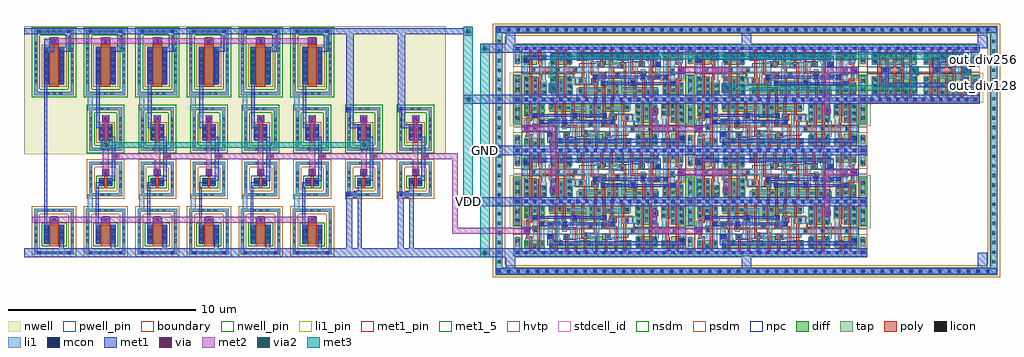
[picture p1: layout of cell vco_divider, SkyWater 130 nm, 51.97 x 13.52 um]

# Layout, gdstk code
from math import pi, radians
import gdstk
lib = gdstk.Library(unit=1e-6, precision=1e-09)
def R(c, l, rs):  # rectangles x0, y0, x1, y1
    for r in rs: c.add(gdstk.rectangle(r[:2], r[2:], *l))
def A(c, l, x, y, w, h, nx, ny, dx, dy):  # array of equal rectangles
    R(c, l, [(x+i*dx, y+j*dy, x+i*dx+w, y+j*dy+h) for i in range(nx) for j in range(ny)])
nwell_pin = (64, 16)
nwell = (64, 20)
diff = (65, 20)
tap = (65, 44)
poly = (66, 20)
licon = (66, 44)
li1_pin = (67, 16)
li1 = (67, 20)
mcon = (67, 44)
met1_5 = (68, 5)
met1_pin = (68, 16)
met1 = (68, 20)
via = (68, 44)
met2 = (69, 20)
via2 = (69, 44)
met3 = (70, 20)
hvtp = (78, 44)
stdcell_id = (81, 4)
nsdm = (93, 44)
psdm = (94, 20)
npc = (95, 20)
pwell_pin = (122, 16)
boundary = (235, 4)

sky130_fd_pr__nfet_01v8_ = lib.new_cell('sky130_fd_pr__nfet_01v8_w0p42_l0p15')
R(sky130_fd_pr__nfet_01v8_, diff, [(-0.365,-0.365,0.365,0.055)])
R(sky130_fd_pr__nfet_01v8_, tap, [(-0.875,-0.925,0.875,-0.755), (-0.875,-0.755,-0.705,0.755), (0.705,-0.755,0.875,0.755), (-0.875,0.755,0.875,0.925)])
R(sky130_fd_pr__nfet_01v8_, poly, [(-0.075,-0.495,0.075,0.165), (-0.165,0.165,0.165,0.495)])
A(sky130_fd_pr__nfet_01v8_, licon, -0.875, -0.425, 0.17, 0.17, 1, 3, 0, 0.34)
A(sky130_fd_pr__nfet_01v8_, licon, 0.705, -0.425, 0.17, 0.17, 1, 3, 0, 0.34)
R(sky130_fd_pr__nfet_01v8_, licon, [(-0.255,-0.925,-0.085,-0.755), (0.085,-0.925,0.255,-0.755), (-0.305,-0.24,-0.135,-0.07), (0.135,-0.24,0.305,-0.07), (-0.085,0.245,0.085,0.415), (-0.255,0.755,-0.085,0.925), (0.085,0.755,0.255,0.925)])
R(sky130_fd_pr__nfet_01v8_, li1, [(-0.875,-0.925,0.875,-0.755), (-0.875,-0.755,-0.705,0.755), (0.705,-0.755,0.875,0.755), (-0.305,-0.385,-0.135,0.075), (0.135,-0.385,0.305,0.075), (-0.165,0.245,0.165,0.415), (-0.875,0.755,0.875,0.925)])
R(sky130_fd_pr__nfet_01v8_, mcon, [(-0.305,-0.24,-0.135,-0.07), (0.135,-0.24,0.305,-0.07), (-0.085,0.245,0.085,0.415)])
R(sky130_fd_pr__nfet_01v8_, met1, [(-0.335,-0.365,-0.105,0.055), (0.105,-0.365,0.335,0.055), (-0.145,0.215,0.145,0.445)])
R(sky130_fd_pr__nfet_01v8_, nsdm, [(-0.49,-0.49,0.49,0.18)])
R(sky130_fd_pr__nfet_01v8_, psdm, [(-1,-1.05,1,-0.63), (-1,-0.63,-0.58,0.63), (0.58,-0.63,1,0.63), (-1,0.63,1,1.05)])
R(sky130_fd_pr__nfet_01v8_, npc, [(-0.185,0.145,0.185,0.515)])
R(sky130_fd_pr__nfet_01v8_, boundary, [(-0.79,-0.84,0.79,0.84)])
sky130_fd_pr__nfet_01v8_.add(gdstk.Label('B', (0,-0.84), layer=67, texttype=5))
sky130_fd_pr__nfet_01v8_.add(gdstk.Label('D', (-0.22,-0.155), layer=67, texttype=5))
sky130_fd_pr__nfet_01v8_.add(gdstk.Label('S', (0.22,-0.155), layer=67, texttype=5))
sky130_fd_pr__nfet_01v8_.add(gdstk.Label('G', (0,0.33), layer=67, texttype=5))

c_sky130_fd_pr__nfet_01v8_ = lib.new_cell('sky130_fd_pr__nfet_01v8_w1_l0p5')
R(c_sky130_fd_pr__nfet_01v8_, diff, [(-0.54,-0.655,0.54,0.345)])
R(c_sky130_fd_pr__nfet_01v8_, tap, [(-1.05,-1.215,1.05,-1.045), (-1.05,-1.045,-0.88,1.045), (0.88,-1.045,1.05,1.045), (-1.05,1.045,1.05,1.215)])
R(c_sky130_fd_pr__nfet_01v8_, poly, [(-0.25,-0.785,0.25,0.785)])
A(c_sky130_fd_pr__nfet_01v8_, licon, -0.425, -1.215, 0.17, 0.17, 3, 2, 0.34, 2.26)
A(c_sky130_fd_pr__nfet_01v8_, licon, -1.05, -0.595, 0.17, 0.17, 1, 4, 0, 0.34)
A(c_sky130_fd_pr__nfet_01v8_, licon, 0.88, -0.595, 0.17, 0.17, 1, 4, 0, 0.34)
A(c_sky130_fd_pr__nfet_01v8_, licon, -0.48, -0.58, 0.17, 0.17, 1, 3, 0, 0.34)
A(c_sky130_fd_pr__nfet_01v8_, licon, 0.31, -0.58, 0.17, 0.17, 1, 3, 0, 0.34)
R(c_sky130_fd_pr__nfet_01v8_, licon, [(-0.085,0.535,0.085,0.705)])
R(c_sky130_fd_pr__nfet_01v8_, li1, [(-1.05,-1.215,1.05,-1.045), (-1.05,-1.045,-0.88,1.045), (0.88,-1.045,1.05,1.045), (-0.48,-0.675,-0.31,0.365), (0.31,-0.675,0.48,0.365), (-0.25,0.535,0.25,0.705), (-1.05,1.045,1.05,1.215)])
R(c_sky130_fd_pr__nfet_01v8_, mcon, [(-0.48,-0.42,-0.31,-0.25), (0.31,-0.42,0.48,-0.25), (-0.48,-0.06,-0.31,0.11), (0.31,-0.06,0.48,0.11), (-0.085,0.535,0.085,0.705)])
R(c_sky130_fd_pr__nfet_01v8_, met1, [(-0.51,-0.655,-0.28,0.345), (0.28,-0.655,0.51,0.345), (-0.23,0.505,0.23,0.735)])
R(c_sky130_fd_pr__nfet_01v8_, nsdm, [(-0.665,-0.78,0.665,0.47)])
R(c_sky130_fd_pr__nfet_01v8_, psdm, [(-1.175,-1.34,1.175,-0.92), (-1.175,-0.92,-0.755,0.92), (0.755,-0.92,1.175,0.92), (-1.175,0.92,1.175,1.34)])
R(c_sky130_fd_pr__nfet_01v8_, npc, [(-0.185,0.435,0.185,0.805)])
R(c_sky130_fd_pr__nfet_01v8_, boundary, [(-0.965,-1.13,0.965,1.13)])
c_sky130_fd_pr__nfet_01v8_.add(gdstk.Label('B', (0,-1.13), layer=67, texttype=5))
c_sky130_fd_pr__nfet_01v8_.add(gdstk.Label('D', (-0.395,-0.155), layer=67, texttype=5))
c_sky130_fd_pr__nfet_01v8_.add(gdstk.Label('S', (0.395,-0.155), layer=67, texttype=5))
c_sky130_fd_pr__nfet_01v8_.add(gdstk.Label('G', (0,0.62), layer=67, texttype=5))

sky130_fd_pr__pfet_01v8_ = lib.new_cell('sky130_fd_pr__pfet_01v8_w0p84_l0p15')
R(sky130_fd_pr__pfet_01v8_, nwell, [(-1.055,-1.34,1.055,1.34)])
R(sky130_fd_pr__pfet_01v8_, diff, [(-0.365,-0.6,0.365,0.24)])
R(sky130_fd_pr__pfet_01v8_, tap, [(-0.875,-1.16,0.875,-0.99), (-0.875,-0.99,-0.705,0.99), (0.705,-0.99,0.875,0.99), (-0.875,0.99,0.875,1.16)])
R(sky130_fd_pr__pfet_01v8_, poly, [(-0.075,-0.73,0.075,0.395), (-0.165,0.395,0.165,0.725)])
A(sky130_fd_pr__pfet_01v8_, licon, -0.875, -0.595, 0.17, 0.17, 1, 4, 0, 0.34)
A(sky130_fd_pr__pfet_01v8_, licon, 0.705, -0.595, 0.17, 0.17, 1, 4, 0, 0.34)
R(sky130_fd_pr__pfet_01v8_, licon, [(-0.255,-1.16,-0.085,-0.99), (0.085,-1.16,0.255,-0.99), (-0.305,-0.435,-0.135,-0.265), (0.135,-0.435,0.305,-0.265), (-0.305,-0.095,-0.135,0.075), (0.135,-0.095,0.305,0.075), (-0.085,0.475,0.085,0.645), (-0.255,0.99,-0.085,1.16), (0.085,0.99,0.255,1.16)])
R(sky130_fd_pr__pfet_01v8_, li1, [(-0.875,-1.16,0.875,-0.99), (-0.875,-0.99,-0.705,0.99), (0.705,-0.99,0.875,0.99), (-0.305,-0.62,-0.135,0.26), (0.135,-0.62,0.305,0.26), (-0.165,0.475,0.165,0.645), (-0.875,0.99,0.875,1.16)])
R(sky130_fd_pr__pfet_01v8_, mcon, [(-0.305,-0.445,-0.135,-0.275), (0.135,-0.445,0.305,-0.275), (-0.305,-0.085,-0.135,0.085), (0.135,-0.085,0.305,0.085), (-0.085,0.475,0.085,0.645)])
R(sky130_fd_pr__pfet_01v8_, met1, [(-0.335,-0.6,-0.105,0.24), (0.105,-0.6,0.335,0.24), (-0.145,0.445,0.145,0.675)])
R(sky130_fd_pr__pfet_01v8_, nsdm, [(-1,-1.285,1,-0.865), (-1,-0.865,-0.58,0.865), (0.58,-0.865,1,0.865), (-1,0.865,1,1.285)])
R(sky130_fd_pr__pfet_01v8_, psdm, [(-0.49,-0.725,0.49,0.365)])
R(sky130_fd_pr__pfet_01v8_, npc, [(-0.185,0.375,0.185,0.745)])
R(sky130_fd_pr__pfet_01v8_, boundary, [(-0.79,-1.075,0.79,1.075)])
sky130_fd_pr__pfet_01v8_.add(gdstk.Label('B', (0,-1.075), layer=67, texttype=5))
sky130_fd_pr__pfet_01v8_.add(gdstk.Label('D', (-0.22,-0.18), layer=67, texttype=5))
sky130_fd_pr__pfet_01v8_.add(gdstk.Label('S', (0.22,-0.18), layer=67, texttype=5))
sky130_fd_pr__pfet_01v8_.add(gdstk.Label('G', (0,0.56), layer=67, texttype=5))

c_sky130_fd_pr__pfet_01v8_ = lib.new_cell('sky130_fd_pr__pfet_01v8_w2_l0p5')
R(c_sky130_fd_pr__pfet_01v8_, nwell, [(-1.23,-1.92,1.23,1.92)])
R(c_sky130_fd_pr__pfet_01v8_, diff, [(-0.54,-1.18,0.54,0.82)])
R(c_sky130_fd_pr__pfet_01v8_, tap, [(-1.05,-1.74,1.05,-1.57), (-1.05,-1.57,-0.88,1.57), (0.88,-1.57,1.05,1.57), (-1.05,1.57,1.05,1.74)])
R(c_sky130_fd_pr__pfet_01v8_, poly, [(-0.25,-1.31,0.25,1.305)])
A(c_sky130_fd_pr__pfet_01v8_, licon, -0.425, -1.74, 0.17, 0.17, 3, 2, 0.34, 3.31)
A(c_sky130_fd_pr__pfet_01v8_, licon, -0.48, -1.115, 0.17, 0.17, 1, 6, 0, 0.34)
A(c_sky130_fd_pr__pfet_01v8_, licon, 0.31, -1.115, 0.17, 0.17, 1, 6, 0, 0.34)
A(c_sky130_fd_pr__pfet_01v8_, licon, -1.05, -1.105, 0.17, 0.17, 1, 7, 0, 0.34)
A(c_sky130_fd_pr__pfet_01v8_, licon, 0.88, -1.105, 0.17, 0.17, 1, 7, 0, 0.34)
R(c_sky130_fd_pr__pfet_01v8_, licon, [(-0.085,1.055,0.085,1.225)])
R(c_sky130_fd_pr__pfet_01v8_, li1, [(-1.05,-1.74,1.05,-1.57), (-1.05,-1.57,-0.88,1.57), (0.88,-1.57,1.05,1.57), (-0.48,-1.2,-0.31,0.84), (0.31,-1.2,0.48,0.84), (-0.25,1.055,0.25,1.225), (-1.05,1.57,1.05,1.74)])
A(c_sky130_fd_pr__pfet_01v8_, mcon, -0.48, -0.985, 0.17, 0.17, 1, 5, 0, 0.36)
A(c_sky130_fd_pr__pfet_01v8_, mcon, 0.31, -0.985, 0.17, 0.17, 1, 5, 0, 0.36)
R(c_sky130_fd_pr__pfet_01v8_, mcon, [(-0.085,1.055,0.085,1.225)])
R(c_sky130_fd_pr__pfet_01v8_, met1, [(-0.51,-1.18,-0.28,0.82), (0.28,-1.18,0.51,0.82), (-0.23,1.025,0.23,1.255)])
R(c_sky130_fd_pr__pfet_01v8_, nsdm, [(-1.175,-1.865,1.175,-1.445), (-1.175,-1.445,-0.755,1.445), (0.755,-1.445,1.175,1.445), (-1.175,1.445,1.175,1.865)])
R(c_sky130_fd_pr__pfet_01v8_, psdm, [(-0.665,-1.305,0.665,0.945)])
R(c_sky130_fd_pr__pfet_01v8_, npc, [(-0.185,0.955,0.185,1.325)])
R(c_sky130_fd_pr__pfet_01v8_, boundary, [(-0.965,-1.655,0.965,1.655)])
c_sky130_fd_pr__pfet_01v8_.add(gdstk.Label('B', (0,-1.655), layer=67, texttype=5))
c_sky130_fd_pr__pfet_01v8_.add(gdstk.Label('D', (-0.395,-0.18), layer=67, texttype=5))
c_sky130_fd_pr__pfet_01v8_.add(gdstk.Label('S', (0.395,-0.18), layer=67, texttype=5))
c_sky130_fd_pr__pfet_01v8_.add(gdstk.Label('G', (0,1.14), layer=67, texttype=5))

vco_core = lib.new_cell('vco_core')
R(vco_core, nwell, [(-1.6,-4.89,20.85,1.92)])
A(vco_core, li1, 1.79, -7.925, 0.26, 0.91, 5, 1, 2.75, 0)
A(vco_core, li1, 1.79, -2.55, 0.26, 0.95, 5, 1, 2.75, 0)
R(vco_core, li1, [(-0.885,-10.22,-0.715,-10.05), (0.715,-10.22,0.885,-10.05), (1.865,-10.22,2.035,-10.05), (3.465,-10.22,3.635,-10.05), (4.615,-10.22,4.785,-10.05), (6.215,-10.22,6.385,-10.05), (7.365,-10.22,7.535,-10.05), (8.965,-10.22,9.135,-10.05), (10.115,-10.22,10.285,-10.05), (11.715,-10.22,11.885,-10.05), (12.865,-10.22,13.035,-10.05), (14.465,-10.22,14.635,-10.05), (15.625,-7.14,15.795,-6.97), (18.375,-7.14,18.545,-6.97), (15.625,-2.56,15.795,-2.39), (18.375,-2.56,18.545,-2.39), (-0.885,1.57,-0.715,1.74), (0.715,1.57,0.885,1.74), (1.865,1.57,2.035,1.74), (3.465,1.57,3.635,1.74), (4.615,1.57,4.785,1.74), (6.215,1.57,6.385,1.74), (7.365,1.57,7.535,1.74), (8.965,1.57,9.135,1.74), (10.115,1.57,10.285,1.74), (11.715,1.57,11.885,1.74), (12.865,1.57,13.035,1.74), (14.465,1.57,14.635,1.74)])
R(vco_core, mcon, [(-0.885,-10.22,-0.715,-10.05), (0.715,-10.22,0.885,-10.05), (1.865,-10.22,2.035,-10.05), (3.465,-10.22,3.635,-10.05), (4.615,-10.22,4.785,-10.05), (6.215,-10.22,6.385,-10.05), (7.365,-10.22,7.535,-10.05), (8.965,-10.22,9.135,-10.05), (10.115,-10.22,10.285,-10.05), (11.715,-10.22,11.885,-10.05), (12.865,-10.22,13.035,-10.05), (14.465,-10.22,14.635,-10.05), (15.625,-7.14,15.795,-6.97), (18.375,-7.14,18.545,-6.97), (15.625,-2.56,15.795,-2.39), (18.375,-2.56,18.545,-2.39), (-0.885,1.57,-0.715,1.74), (0.715,1.57,0.885,1.74), (1.865,1.57,2.035,1.74), (3.465,1.57,3.635,1.74), (4.615,1.57,4.785,1.74), (6.215,1.57,6.385,1.74), (7.365,1.57,7.535,1.74), (8.965,1.57,9.135,1.74), (10.115,1.57,10.285,1.74), (11.715,1.57,11.885,1.74), (12.865,1.57,13.035,1.74), (14.465,1.57,14.635,1.74)])
A(vco_core, met1, 0.28, -9.895, 0.23, 0.39, 6, 1, 2.75, 0)
A(vco_core, met1, 2.22, -8.905, 0.25, 0.245, 5, 1, 2.75, 0)
A(vco_core, met1, 2.22, -8.66, 0.15, 2.08, 5, 1, 2.75, 0)
A(vco_core, met1, -0.16, -8.545, 0.32, 0.32, 6, 1, 2.75, 0)
A(vco_core, met1, 2.22, -6.58, 0.425, 0.2, 5, 1, 2.75, 0)
A(vco_core, met1, 2.855, -6.315, 0.405, 0.155, 7, 1, 2.75, 0)
A(vco_core, met1, 3.06, -6.16, 0.2, 1, 7, 1, 2.75, 0)
A(vco_core, met1, 2.59, -5.995, 0.32, 0.32, 7, 2, 2.75, 2.845)
A(vco_core, met1, 3.06, -5.16, 0.4, 0.32, 7, 1, 2.75, 0)
A(vco_core, met1, 3.06, -4.84, 0.2, 0.69, 7, 1, 2.75, 0)
A(vco_core, met1, 2.855, -4.15, 0.405, 0.2, 7, 1, 2.75, 0)
A(vco_core, met1, 2.24, -3.51, 0.405, 0.2, 5, 1, 2.75, 0)
A(vco_core, met1, 2.24, -3.31, 0.2, 2.31, 5, 1, 2.75, 0)
A(vco_core, met1, 0.28, 0.56, 0.57, 0.26, 6, 1, 2.75, 0)
A(vco_core, met1, 0.62, 0.82, 0.23, 0.675, 6, 1, 2.75, 0)
A(vco_core, met1, 2.59, 0.98, 0.32, 0.32, 5, 1, 2.75, 0)
A(vco_core, met1, -0.96, 1.495, 0.32, 0.01, 6, 1, 2.75, 0)
A(vco_core, met1, 0.62, 1.495, 0.34, 0.01, 6, 1, 2.75, 0)
R(vco_core, met1, [(-1.6,-10.375,20.85,-9.895), (15.55,-9.895,15.87,-7.215), (16.165,-9.895,16.395,-7.215), (18.3,-9.895,18.62,-7.215), (18.915,-9.895,19.145,-7.215), (-0.51,-8.905,-0.28,-8.66), (-0.51,-8.66,-0.37,-1), (15.55,-7.215,16.395,-6.895), (18.3,-7.215,19.145,-6.895), (16.165,-6.895,16.395,-6.515), (18.915,-6.895,19.145,-6.515), (15.75,-3.51,16.395,-3.31), (18.5,-3.51,19.145,-3.31), (15.75,-3.31,15.95,-2.65), (18.5,-3.31,18.7,-2.65), (15.55,-2.65,15.95,1.505), (18.3,-2.65,18.7,1.505), (-0.51,0.56,0,0.98), (-0.51,0.98,0.16,1.255), (-0.16,1.255,0.16,1.3), (-1.6,1.505,20.85,1.805), (-0.96,1.805,-0.64,1.815), (0.64,1.805,0.96,1.815), (1.79,1.805,2.11,1.815), (3.39,1.805,3.71,1.815), (4.54,1.805,4.86,1.815), (6.14,1.805,6.46,1.815), (7.29,1.805,7.61,1.815), (8.89,1.805,9.21,1.815), (10.04,1.805,10.36,1.815), (11.64,1.805,11.96,1.815), (12.79,1.805,13.11,1.815), (14.39,1.805,14.71,1.815)])
A(vco_core, via, -0.075, -8.46, 0.15, 0.15, 6, 2, 2.75, 9.525)
A(vco_core, via, 2.675, -5.91, 0.15, 0.15, 7, 2, 2.75, 2.845)
A(vco_core, via, 3.225, -5.075, 0.15, 0.15, 7, 1, 2.75, 0)
A(vco_core, met2, -0.16, -8.545, 0.32, 0.01, 6, 2, 2.75, 0.31)
A(vco_core, met2, 2.59, -5.995, 0.32, 0.32, 7, 2, 2.75, 2.845)
A(vco_core, met2, 5.35, -5.675, 0.3, 0.525, 6, 1, 2.75, 0)
A(vco_core, met2, 3.14, -5.16, 0.32, 0.01, 6, 2, 2.75, 0.31)
A(vco_core, met2, 3.14, -5.15, 2.51, 0.3, 6, 1, 2.75, 0)
A(vco_core, met2, 5.35, -4.85, 0.3, 1.7, 4, 1, 2.75, 0)
A(vco_core, met2, -0.16, 0.98, 0.32, 0.01, 6, 2, 2.75, 0.31)
R(vco_core, met2, [(-1.2,-8.535,13.91,-8.235), (2.6,-5.675,2.9,-4.59), (19.64,-5.16,19.96,-4.84), (16.35,-4.85,16.65,-4.59), (19.1,-4.85,19.4,-3.15), (2.56,-4.59,2.94,-4.21), (16.31,-4.59,16.69,-4.21), (2.6,-4.21,2.9,-3.15), (16.35,-4.21,16.65,-3.15), (-0.16,0.99,13.91,1.29)])
R(vco_core, via2, [(2.65,-4.5,2.85,-4.3), (16.4,-4.5,16.6,-4.3)])
R(vco_core, met3, [(2.5,-4.65,3,-4.55), (16.25,-4.65,16.75,-4.55), (2.5,-4.55,16.75,-4.25), (2.5,-4.25,3,-4.15), (16.25,-4.25,16.75,-4.15)])
vco_core.add(gdstk.Reference(sky130_fd_pr__nfet_01v8_, (2.75,-6.215)))
vco_core.add(gdstk.Reference(c_sky130_fd_pr__nfet_01v8_, (2.75,-9.005)))
vco_core.add(gdstk.Reference(c_sky130_fd_pr__nfet_01v8_, (0,-9.005)))
vco_core.add(gdstk.Reference(sky130_fd_pr__nfet_01v8_, (5.5,-6.215)))
vco_core.add(gdstk.Reference(c_sky130_fd_pr__nfet_01v8_, (5.5,-9.005)))
vco_core.add(gdstk.Reference(sky130_fd_pr__nfet_01v8_, (8.25,-6.215)))
vco_core.add(gdstk.Reference(c_sky130_fd_pr__nfet_01v8_, (8.25,-9.005)))
vco_core.add(gdstk.Reference(sky130_fd_pr__nfet_01v8_, (11,-6.215)))
vco_core.add(gdstk.Reference(sky130_fd_pr__nfet_01v8_, (13.75,-6.215)))
vco_core.add(gdstk.Reference(c_sky130_fd_pr__nfet_01v8_, (11,-9.005)))
vco_core.add(gdstk.Reference(c_sky130_fd_pr__nfet_01v8_, (13.75,-9.005)))
vco_core.add(gdstk.Reference(sky130_fd_pr__nfet_01v8_, (16.5,-6.215)))
vco_core.add(gdstk.Reference(sky130_fd_pr__nfet_01v8_, (19.25,-6.215)))
vco_core.add(gdstk.Reference(sky130_fd_pr__pfet_01v8_, (2.75,-3.55)))
vco_core.add(gdstk.Reference(sky130_fd_pr__pfet_01v8_, (5.5,-3.55)))
vco_core.add(gdstk.Reference(sky130_fd_pr__pfet_01v8_, (8.25,-3.55)))
vco_core.add(gdstk.Reference(sky130_fd_pr__pfet_01v8_, (13.75,-3.55)))
vco_core.add(gdstk.Reference(sky130_fd_pr__pfet_01v8_, (11,-3.55)))
vco_core.add(gdstk.Reference(sky130_fd_pr__pfet_01v8_, (16.5,-3.55)))
vco_core.add(gdstk.Reference(sky130_fd_pr__pfet_01v8_, (19.25,-3.55)))
vco_core.add(gdstk.Reference(c_sky130_fd_pr__pfet_01v8_, (0,0)))
vco_core.add(gdstk.Reference(c_sky130_fd_pr__pfet_01v8_, (2.75,0)))
vco_core.add(gdstk.Reference(c_sky130_fd_pr__pfet_01v8_, (5.5,0)))
vco_core.add(gdstk.Reference(c_sky130_fd_pr__pfet_01v8_, (8.25,0)))
vco_core.add(gdstk.Reference(c_sky130_fd_pr__pfet_01v8_, (11,0)))
vco_core.add(gdstk.Reference(c_sky130_fd_pr__pfet_01v8_, (13.75,0)))
vco_core.add(gdstk.Label('VDD', (20.35,1.655), layer=68, texttype=5))
vco_core.add(gdstk.Label('GND', (20.35,-10.135), layer=68, texttype=5))
vco_core.add(gdstk.Label('Vctrl', (-1,-8.385), layer=69, texttype=5))
vco_core.add(gdstk.Label('Vout', (19.8,-5), layer=69, texttype=5))

sky130_fd_sc_hd__tapvpwr = lib.new_cell('sky130_fd_sc_hd__tapvpwrvgnd_1')
R(sky130_fd_sc_hd__tapvpwr, nwell, [(-0.19,1.305,0.65,2.91)])
R(sky130_fd_sc_hd__tapvpwr, tap, [(0.145,0.32,0.315,0.845), (0.145,1.525,0.315,2.4)])
R(sky130_fd_sc_hd__tapvpwr, licon, [(0.145,0.555,0.315,0.725), (0.145,1.645,0.315,1.815), (0.145,2.11,0.315,2.28)])
R(sky130_fd_sc_hd__tapvpwr, li1, [(0,-0.085,0.46,0.085), (0.085,0,0.375,0.81), (0.085,1.47,0.375,2.72), (0,2.635,0.46,2.805)])
R(sky130_fd_sc_hd__tapvpwr, mcon, [(0.145,-0.085,0.315,0.085), (0.145,2.635,0.315,2.805)])
R(sky130_fd_sc_hd__tapvpwr, met1_pin, [(0.105,-0.09,0.36,0.1), (0.11,2.62,0.375,2.765)])
R(sky130_fd_sc_hd__tapvpwr, met1, [(0,-0.24,0.46,0.24), (0,2.48,0.46,2.96)])
R(sky130_fd_sc_hd__tapvpwr, hvtp, [(0,1.25,0.46,2.72)])
R(sky130_fd_sc_hd__tapvpwr, stdcell_id, [(0,0,0.46,2.72)])
R(sky130_fd_sc_hd__tapvpwr, nsdm, [(0,-0.19,0.46,0.19), (0,1.395,0.46,2.53)])
R(sky130_fd_sc_hd__tapvpwr, psdm, [(0,0.19,0.46,0.975), (0,2.53,0.46,2.91)])
sky130_fd_sc_hd__tapvpwr.add(gdstk.Label('VPWR', (0.23,2.72), layer=68, texttype=5))
sky130_fd_sc_hd__tapvpwr.add(gdstk.Label('VGND', (0.23,0), layer=68, texttype=5))
sky130_fd_sc_hd__tapvpwr.add(gdstk.Label('tapvpwrvgnd_1', (0,0), layer=83, texttype=44))

sky130_fd_sc_hd__dfxbp_1 = lib.new_cell('sky130_fd_sc_hd__dfxbp_1')
R(sky130_fd_sc_hd__dfxbp_1, nwell_pin, [(0.145,2.635,0.315,2.805)])
R(sky130_fd_sc_hd__dfxbp_1, nwell, [(-0.19,1.305,8.93,2.91)])
R(sky130_fd_sc_hd__dfxbp_1, diff, [(0.135,0.235,1.225,0.655), (1.495,0.235,5.82,0.595), (6.1,0.235,7.19,0.885), (7.46,0.235,8.605,0.655), (1.495,0.595,2.155,0.655), (3.055,0.595,4.3,0.655), (5.16,0.595,5.82,0.655), (3.65,0.655,4.3,0.875), (7.945,0.655,8.605,0.885), (6.08,1.485,7.18,2.485), (7.935,1.485,8.605,1.845), (3.395,1.735,4.23,2.065), (0.135,1.815,1.225,2.455), (7.45,1.845,8.605,2.485), (1.495,2.065,5.71,2.485)])
R(sky130_fd_sc_hd__dfxbp_1, poly, [(0.395,0.105,0.545,0.73), (0.815,0.105,0.965,1.1), (1.755,0.105,1.905,1.335), (2.315,0.105,2.465,0.735), (2.81,0.105,2.96,1.215), (3.305,0.105,3.455,0.795), (3.9,0.105,4.05,0.95), (4.405,0.105,4.555,0.705), (4.935,0.105,5.085,1.245), (5.41,0.105,5.56,1.575), (6.36,0.105,6.51,0.995), (6.78,0.105,6.93,0.995), (7.72,0.105,7.87,0.73), (8.195,0.105,8.345,0.995), (4.405,0.705,4.725,1.035), (0.23,0.73,0.545,0.88), (7.665,0.73,7.87,0.85), (2.215,0.735,2.545,1.005), (3.17,0.795,3.54,1.065), (7.665,0.85,7.815,0.995), (0.23,0.88,0.38,0.995), (3.83,0.95,4.05,1.1), (0.11,0.995,0.38,1.325), (5.8,0.995,6.51,1.325), (6.72,0.995,7.815,1.325), (8.025,0.995,8.345,1.325), (3.17,1.065,3.32,2.615), (0.59,1.1,0.965,1.37), (3.83,1.1,3.98,1.275), (2.115,1.215,2.96,1.365), (4.24,1.245,5.085,1.395), (3.53,1.275,3.98,1.545), (0.23,1.325,0.38,1.59), (6.35,1.325,6.5,2.615), (6.77,1.325,6.92,2.615), (7.665,1.325,7.815,1.515), (8.195,1.325,8.345,2.615), (1.43,1.335,1.905,1.665), (2.115,1.365,2.445,1.485), (0.815,1.37,0.965,2.585), (4.24,1.395,4.51,1.575), (2.18,1.485,2.33,2.615), (7.665,1.515,7.86,1.665), (3.83,1.545,3.98,2.615), (2.655,1.575,2.96,1.905), (4.305,1.575,4.455,2.615), (5.295,1.575,5.7,1.905), (0.23,1.59,0.545,1.74), (4.72,1.605,5.05,1.875), (1.755,1.665,1.905,2.615), (7.71,1.665,7.86,2.615), (0.395,1.74,0.545,2.585), (4.725,1.875,4.875,2.615), (2.655,1.905,2.805,2.615), (5.295,1.905,5.445,2.615)])
A(sky130_fd_sc_hd__dfxbp_1, licon, 6.12, 1.545, 0.17, 0.17, 1, 3, 0, 0.355)
A(sky130_fd_sc_hd__dfxbp_1, licon, 6.97, 1.545, 0.17, 0.17, 1, 3, 0, 0.34)
A(sky130_fd_sc_hd__dfxbp_1, licon, 8.395, 1.545, 0.17, 0.17, 1, 3, 0, 0.355)
A(sky130_fd_sc_hd__dfxbp_1, licon, 7.975, 1.575, 0.17, 0.17, 1, 3, 0, 0.34)
R(sky130_fd_sc_hd__dfxbp_1, licon, [(0.595,0.295,0.765,0.465), (1.535,0.295,1.705,0.465), (7.975,0.295,8.145,0.465), (6.14,0.3,6.31,0.47), (6.98,0.31,7.15,0.48), (3.51,0.335,3.68,0.505), (1.96,0.365,2.13,0.535), (2.515,0.365,2.685,0.535), (4.105,0.365,4.275,0.535), (4.62,0.365,4.79,0.535), (5.61,0.365,5.78,0.535), (0.175,0.425,0.345,0.595), (1.015,0.425,1.185,0.595), (7.5,0.425,7.67,0.595), (6.56,0.445,6.73,0.615), (8.395,0.485,8.565,0.655), (6.14,0.64,6.31,0.81), (6.98,0.65,7.15,0.82), (2.295,0.785,2.465,0.955), (4.505,0.785,4.675,0.955), (3.29,0.845,3.46,1.015), (0.16,1.075,0.33,1.245), (5.85,1.075,6.02,1.245), (6.77,1.075,6.94,1.245), (8.075,1.075,8.245,1.245), (0.67,1.15,0.84,1.32), (2.195,1.265,2.365,1.435), (3.61,1.325,3.78,1.495), (4.29,1.325,4.46,1.495), (1.48,1.415,1.65,1.585), (2.74,1.655,2.91,1.825), (4.8,1.655,4.97,1.825), (5.48,1.655,5.65,1.825), (6.55,1.705,6.72,1.875), (0.175,1.875,0.345,2.045), (1.015,1.875,1.185,2.045), (3.61,1.915,3.78,2.085), (7.49,1.915,7.66,2.085), (6.55,2.105,6.72,2.275), (0.595,2.135,0.765,2.305), (4.505,2.165,4.675,2.335), (2.415,2.19,2.585,2.36), (0.175,2.215,0.345,2.385), (1.015,2.215,1.185,2.385), (1.955,2.215,2.125,2.385), (4.03,2.215,4.2,2.385), (5.5,2.215,5.67,2.385), (1.535,2.255,1.705,2.425), (3.61,2.255,3.78,2.425), (7.49,2.255,7.66,2.425)])
R(sky130_fd_sc_hd__dfxbp_1, li1_pin, [(6.95,0.425,7.12,0.595), (0.145,1.105,0.315,1.275), (1.445,1.105,1.615,1.275), (8.425,1.52,8.595,1.69)])
R(sky130_fd_sc_hd__dfxbp_1, li1, [(0,-0.085,8.74,0.085), (0.515,0.085,0.845,0.465), (1.455,0.085,1.705,0.545), (3.4,0.085,3.77,0.585), (5.585,0.085,5.795,0.615), (6.56,0.085,6.73,0.695), (7.905,0.085,8.225,0.545), (8.395,0.255,8.65,0.91), (6.06,0.3,6.39,0.825), (6.9,0.305,7.23,0.74), (0.175,0.345,0.345,0.635), (1.015,0.345,1.2,2.465), (7.42,0.345,7.67,0.615), (1.875,0.365,2.21,0.535), (2.405,0.365,3.08,0.535), (3.95,0.365,4.355,0.535), (4.525,0.365,5.31,0.535), (1.875,0.535,2.045,0.675), (2.91,0.535,3.08,1.315), (3.95,0.535,4.12,0.765), (5.14,0.535,5.31,0.995), (7.47,0.615,7.67,0.995), (0.175,0.635,0.84,0.805), (1.82,0.675,2.045,0.805), (4.505,0.705,4.97,1.035), (1.37,0.715,1.65,1.665), (2.215,0.735,2.74,0.955), (6.9,0.74,7.3,0.825), (3.29,0.765,4.12,1.065), (0.61,0.805,0.84,1.795), (1.82,0.805,1.99,1.91), (6.19,0.825,6.39,0.995), (7.055,0.825,7.3,0.865), (7.11,0.865,7.3,1.445), (8.415,0.91,8.65,1.48), (2.57,0.955,2.74,1.655), (0.09,0.975,0.44,1.625), (5.14,0.995,6.02,1.325), (6.19,0.995,6.94,1.325), (7.47,0.995,8.245,1.325), (4.65,1.035,4.97,1.995), (3.29,1.065,3.49,1.095), (3.95,1.065,4.12,2.135), (2.16,1.125,2.4,1.72), (3.61,1.245,3.78,1.315), (4.29,1.245,4.48,1.965), (2.91,1.315,3.78,1.485), (5.14,1.325,5.31,2.165), (6.19,1.325,6.38,1.53), (7.47,1.325,7.74,1.715), (7.065,1.445,7.3,1.495), (8.315,1.48,8.65,2.465), (3.27,1.485,3.78,1.575), (6.89,1.495,7.3,1.575), (7.93,1.495,8.145,2.635), (5.48,1.53,6.38,1.905), (3.27,1.575,3.44,2.19), (6.89,1.575,7.22,2.42), (6.55,1.625,6.72,2.635), (2.57,1.655,3.1,2.02), (7.41,1.715,7.74,2.445), (0.175,1.795,0.84,1.965), (3.61,1.835,3.78,2.635), (6.04,1.905,6.38,2.465), (1.82,1.91,2.125,2.04), (0.175,1.965,0.345,2.465), (1.875,2.04,2.125,2.465), (0.515,2.135,0.845,2.635), (3.95,2.135,4.2,2.465), (5.49,2.135,5.805,2.635), (4.425,2.165,5.31,2.335), (1.44,2.175,1.705,2.635), (2.335,2.19,3.44,2.36), (0,2.635,8.74,2.805)])
A(sky130_fd_sc_hd__dfxbp_1, mcon, 0.145, -0.085, 0.17, 0.17, 19, 2, 0.46, 2.72)
R(sky130_fd_sc_hd__dfxbp_1, mcon, [(1.025,1.445,1.195,1.615), (2.215,1.445,2.385,1.615), (4.735,1.445,4.905,1.615), (0.63,1.785,0.8,1.955), (2.73,1.785,2.9,1.955), (4.3,1.785,4.47,1.955)])
R(sky130_fd_sc_hd__dfxbp_1, met1_pin, [(0.145,-0.085,0.315,0.085), (0.145,2.635,0.315,2.805)])
R(sky130_fd_sc_hd__dfxbp_1, met1, [(0,-0.24,8.74,0.24), (0.965,1.415,1.255,1.46), (2.155,1.415,2.445,1.46), (4.675,1.415,4.965,1.46), (0.965,1.46,4.965,1.6), (0.965,1.6,1.255,1.645), (2.155,1.6,2.445,1.645), (4.675,1.6,4.965,1.645), (0.57,1.755,0.86,1.8), (2.67,1.755,2.96,1.8), (4.24,1.755,4.53,1.8), (0.57,1.8,4.53,1.94), (0.57,1.94,0.86,1.985), (2.67,1.94,2.96,1.985), (4.24,1.94,4.53,1.985), (0,2.48,8.74,2.96)])
R(sky130_fd_sc_hd__dfxbp_1, hvtp, [(0,1.25,8.74,2.72)])
R(sky130_fd_sc_hd__dfxbp_1, stdcell_id, [(0,0,8.74,2.72)])
R(sky130_fd_sc_hd__dfxbp_1, nsdm, [(0,-0.19,8.74,1.015)])
R(sky130_fd_sc_hd__dfxbp_1, psdm, [(5.93,1.355,8.74,1.935), (3.24,1.605,4.665,1.935), (0,1.685,1.35,1.935), (0,1.935,8.74,2.91)])
R(sky130_fd_sc_hd__dfxbp_1, npc, [(2.195,0.685,2.905,0.745), (4.32,0.685,4.775,0.795), (2.195,0.745,3.59,0.895), (4.32,0.795,5.675,0.975), (2.195,0.895,3.67,0.975), (0,0.975,8.74,1.345), (0.565,1.345,6.02,1.42), (1.38,1.42,6.02,1.585), (1.38,1.585,5.91,1.595), (1.38,1.595,3.085,1.685), (4.335,1.595,5.91,1.71), (2.095,1.685,3.085,1.925), (4.675,1.71,5.91,1.925)])
R(sky130_fd_sc_hd__dfxbp_1, pwell_pin, [(0.145,-0.085,0.315,0.085)])
R(sky130_fd_sc_hd__dfxbp_1, boundary, [(0,0,8.74,2.72)])
sky130_fd_sc_hd__dfxbp_1.add(gdstk.Label('VNB', (0.23,0), layer=64, texttype=59))
sky130_fd_sc_hd__dfxbp_1.add(gdstk.Label('VPB', (0.23,2.72), layer=64, texttype=5))
sky130_fd_sc_hd__dfxbp_1.add(gdstk.Label('VGND', (0.23,0), layer=68, texttype=5))
sky130_fd_sc_hd__dfxbp_1.add(gdstk.Label('VPWR', (0.23,2.72), layer=68, texttype=5))
sky130_fd_sc_hd__dfxbp_1.add(gdstk.Label('VNB', (0.23,0), layer=64, texttype=59))
sky130_fd_sc_hd__dfxbp_1.add(gdstk.Label('VPB', (0.23,2.72), layer=64, texttype=5))
sky130_fd_sc_hd__dfxbp_1.add(gdstk.Label('Q_N', (8.51,1.605), layer=67, texttype=5))
sky130_fd_sc_hd__dfxbp_1.add(gdstk.Label('Q', (7.035,0.51), layer=67, texttype=5))
sky130_fd_sc_hd__dfxbp_1.add(gdstk.Label('D', (1.53,1.19), layer=67, texttype=5))
sky130_fd_sc_hd__dfxbp_1.add(gdstk.Label('CLK', (0.23,1.19), layer=67, texttype=5))

sky130_fd_sc_hd__buf_4 = lib.new_cell('sky130_fd_sc_hd__buf_4')
R(sky130_fd_sc_hd__buf_4, nwell_pin, [(0.15,2.635,0.32,2.805)])
R(sky130_fd_sc_hd__buf_4, nwell, [(-0.19,1.305,2.95,2.91)])
R(sky130_fd_sc_hd__buf_4, diff, [(0.135,0.235,2.485,0.885), (0.135,1.485,2.485,2.485)])
A(sky130_fd_sc_hd__buf_4, poly, 0.815, 0.105, 0.15, 0.92, 4, 1, 0.42, 0)
A(sky130_fd_sc_hd__buf_4, poly, 0.815, 1.295, 0.15, 1.32, 4, 1, 0.42, 0)
R(sky130_fd_sc_hd__buf_4, poly, [(0.395,0.105,0.545,1.015), (0.14,1.015,0.545,1.305), (0.81,1.025,2.225,1.295), (0.395,1.305,0.545,2.615)])
A(sky130_fd_sc_hd__buf_4, licon, 0.175, 0.475, 0.17, 0.17, 3, 1, 0.84, 0)
A(sky130_fd_sc_hd__buf_4, licon, 0.175, 1.545, 0.17, 0.17, 1, 3, 0, 0.34)
A(sky130_fd_sc_hd__buf_4, licon, 0.595, 1.915, 0.17, 0.17, 3, 2, 0.84, 0.34)
R(sky130_fd_sc_hd__buf_4, licon, [(2.275,0.295,2.445,0.465), (0.595,0.315,0.765,0.485), (1.435,0.315,1.605,0.485), (2.275,0.635,2.445,0.805), (0.22,1.075,0.39,1.245), (0.89,1.075,1.06,1.245), (2.275,1.575,2.445,1.745), (1.015,1.67,1.185,1.84), (1.855,1.67,2.025,1.84), (1.015,2.145,1.185,2.315), (1.855,2.145,2.025,2.315)])
A(sky130_fd_sc_hd__buf_4, li1_pin, 1.53, 0.765, 0.17, 0.17, 1, 3, 0, 0.34)
R(sky130_fd_sc_hd__buf_4, li1_pin, [(0.15,-0.085,0.32,0.085), (0.15,1.105,0.32,1.275), (0.15,2.635,0.32,2.805)])
A(sky130_fd_sc_hd__buf_4, li1, 0.175, 0.255, 0.17, 0.48, 3, 1, 0.84, 0)
R(sky130_fd_sc_hd__buf_4, li1, [(0,-0.085,2.76,0.085), (0.525,0.085,0.765,0.565), (1.355,0.085,1.685,0.565), (2.195,0.085,2.525,0.885), (0.175,0.735,0.81,0.905), (1.015,0.735,2.025,0.905), (0.64,0.905,0.81,1.075), (1.53,0.905,2.025,1.445), (0.09,1.075,0.47,1.315), (0.64,1.075,1.14,1.245), (0.64,1.245,0.81,1.485), (1.015,1.445,2.025,1.615), (0.095,1.485,0.81,1.655), (2.195,1.485,2.525,2.635), (1.015,1.615,1.185,2.465), (1.855,1.615,2.025,2.465), (0.095,1.655,0.425,2.465), (0.595,1.835,0.835,2.635), (1.355,1.835,1.685,2.635), (0,2.635,2.76,2.805)])
A(sky130_fd_sc_hd__buf_4, mcon, 0.145, -0.085, 0.17, 0.17, 6, 2, 0.46, 2.72)
R(sky130_fd_sc_hd__buf_4, met1_pin, [(0.15,-0.085,0.32,0.085), (0.15,2.635,0.32,2.805)])
R(sky130_fd_sc_hd__buf_4, met1, [(0,-0.24,2.76,0.24), (0,2.48,2.76,2.96)])
R(sky130_fd_sc_hd__buf_4, hvtp, [(0,1.25,2.76,2.72)])
R(sky130_fd_sc_hd__buf_4, stdcell_id, [(0,0,2.76,2.72)])
R(sky130_fd_sc_hd__buf_4, nsdm, [(0,-0.19,2.76,1.015)])
R(sky130_fd_sc_hd__buf_4, psdm, [(0,1.355,2.76,2.91)])
R(sky130_fd_sc_hd__buf_4, npc, [(0,0.975,2.76,1.345)])
R(sky130_fd_sc_hd__buf_4, pwell_pin, [(0.15,-0.085,0.32,0.085)])
R(sky130_fd_sc_hd__buf_4, boundary, [(0,0,2.76,2.72)])
sky130_fd_sc_hd__buf_4.add(gdstk.Label('VPWR', (0.235,2.72), layer=67, texttype=5))
sky130_fd_sc_hd__buf_4.add(gdstk.Label('VPWR', (0.235,2.72), layer=68, texttype=5))
sky130_fd_sc_hd__buf_4.add(gdstk.Label('VGND', (0.235,0), layer=67, texttype=5))
sky130_fd_sc_hd__buf_4.add(gdstk.Label('VGND', (0.235,0), layer=68, texttype=5))
sky130_fd_sc_hd__buf_4.add(gdstk.Label('VNB', (0.235,0), layer=64, texttype=59))
sky130_fd_sc_hd__buf_4.add(gdstk.Label('VPB', (0.235,2.72), layer=64, texttype=5))
sky130_fd_sc_hd__buf_4.add(gdstk.Label('A', (0.235,1.19), layer=67, texttype=5))
sky130_fd_sc_hd__buf_4.add(gdstk.Label('X', (1.615,0.85), layer=67, texttype=5))
sky130_fd_sc_hd__buf_4.add(gdstk.Label('X', (1.615,1.53), layer=67, texttype=5))
sky130_fd_sc_hd__buf_4.add(gdstk.Label('X', (1.615,1.19), layer=67, texttype=5))

vco_divider = lib.new_cell('vco_divider')
R(vco_divider, tap, [(25.095,-1.195,51.845,-0.785), (25.095,-0.785,25.505,11.665), (51.435,-0.785,51.845,11.665), (25.095,11.665,51.845,12.075)])
A(vco_divider, licon, 25.215, -1.075, 0.17, 0.17, 52, 2, 0.51, 12.86)
A(vco_divider, licon, 25.215, -0.565, 0.17, 0.17, 1, 24, 0, 0.51)
A(vco_divider, licon, 51.555, -0.565, 0.17, 0.17, 1, 24, 0, 0.51)
R(vco_divider, li1, [(25.135,-1.155,51.805,-0.825), (25.135,-0.825,25.465,11.705), (51.475,-0.825,51.805,11.705), (34.95,0.55,35.12,0.72), (44.15,0.55,44.32,0.72), (27.935,0.75,28.105,0.92), (37.135,0.75,37.305,0.92), (26.69,1.08,26.86,1.25), (35.89,1.08,36.06,1.25), (33.48,2.02,33.65,2.19), (42.68,2.02,42.85,2.19), (28.11,3.25,28.28,3.42), (37.31,3.25,37.48,3.42), (34.9,4.19,35.07,4.36), (44.1,4.19,44.27,4.36), (33.655,4.52,33.825,4.69), (42.855,4.52,43.025,4.69), (26.64,4.72,26.81,4.89), (35.84,4.72,36.01,4.89), (34.95,5.99,35.12,6.16), (44.15,5.99,44.32,6.16), (27.935,6.19,28.105,6.36), (37.135,6.19,37.305,6.36), (26.69,6.52,26.86,6.69), (35.89,6.52,36.06,6.69), (33.48,7.46,33.65,7.63), (42.68,7.46,42.85,7.63), (28.11,8.69,28.28,8.86), (37.31,8.69,37.48,8.86), (45.75,9.6,45.95,9.8), (47.305,9.6,47.475,9.77), (50.065,9.6,50.235,9.77), (34.9,9.63,35.07,9.8), (44.1,9.63,44.27,9.8), (48.5,9.65,48.7,9.85), (33.655,9.96,33.825,10.13), (42.855,9.96,43.025,10.13), (26.64,10.16,26.81,10.33), (35.84,10.16,36.01,10.33), (25.135,11.705,51.805,12.035)])
A(vco_divider, mcon, 25.215, -1.075, 0.17, 0.17, 52, 2, 0.51, 12.86)
R(vco_divider, mcon, [(34.95,0.55,35.12,0.72), (44.15,0.55,44.32,0.72), (27.935,0.75,28.105,0.92), (37.135,0.75,37.305,0.92), (26.69,1.08,26.86,1.25), (35.89,1.08,36.06,1.25), (33.48,2.02,33.65,2.19), (42.68,2.02,42.85,2.19), (28.11,3.25,28.28,3.42), (37.31,3.25,37.48,3.42), (34.9,4.19,35.07,4.36), (44.1,4.19,44.27,4.36), (33.655,4.52,33.825,4.69), (42.855,4.52,43.025,4.69), (26.64,4.72,26.81,4.89), (35.84,4.72,36.01,4.89), (34.95,5.99,35.12,6.16), (44.15,5.99,44.32,6.16), (27.935,6.19,28.105,6.36), (37.135,6.19,37.305,6.36), (26.69,6.52,26.86,6.69), (35.89,6.52,36.06,6.69), (33.48,7.46,33.65,7.63), (42.68,7.46,42.85,7.63), (28.11,8.69,28.28,8.86), (37.31,8.69,37.48,8.86), (47.305,9.6,47.475,9.77), (50.065,9.6,50.235,9.77), (45.765,9.615,45.935,9.785), (34.9,9.63,35.07,9.8), (44.1,9.63,44.27,9.8), (48.515,9.665,48.685,9.835), (33.655,9.96,33.825,10.13), (42.855,9.96,43.025,10.13), (26.64,10.16,26.81,10.33), (35.84,10.16,36.01,10.33)])
R(vco_divider, met1_5, [(51,8.85,51.2,9), (51,10.2,51.2,10.35)])
R(vco_divider, met1, [(25.135,-1.155,51.805,-0.825), (25.65,-0.825,26.15,-0.24), (38.22,-0.825,38.72,0), (50.79,-0.825,51.29,0), (22.25,-0.24,26.15,0), (22.25,0,26.05,0.24), (27.855,0.4,35.18,0.62), (37.055,0.4,44.38,0.62), (27.855,0.62,28.215,0.98), (34.87,0.62,35.18,0.78), (37.055,0.62,37.415,0.98), (44.07,0.62,44.38,0.78), (26.6,0.98,26.95,1.35), (35.8,0.98,36.15,1.35), (33.4,1.94,33.73,1.96), (42.6,1.94,42.93,1.96), (33.4,1.96,33.76,2.25), (42.6,1.96,42.96,2.25), (33.4,2.25,33.73,2.27), (42.6,2.25,42.93,2.27), (23.4,2.48,26.05,2.96), (28.03,3.17,28.36,3.19), (37.23,3.17,37.56,3.19), (28,3.19,28.36,3.48), (37.2,3.19,37.56,3.48), (28.03,3.48,28.36,3.5), (37.23,3.48,37.56,3.5), (34.81,4.09,35.16,4.46), (44.01,4.09,44.36,4.46), (33.545,4.46,33.905,4.82), (42.745,4.46,43.105,4.82), (26.58,4.66,26.89,4.82), (35.78,4.66,36.09,4.82), (26.58,4.82,33.905,5.04), (35.78,4.82,43.105,5.04), (24.3,5.2,26.05,5.68), (27.855,5.84,35.18,6.06), (37.055,5.84,44.38,6.06), (27.855,6.06,28.215,6.42), (34.87,6.06,35.18,6.22), (37.055,6.06,37.415,6.42), (44.07,6.06,44.38,6.22), (26.6,6.42,26.95,6.79), (35.8,6.42,36.15,6.79), (33.4,7.38,33.73,7.4), (42.6,7.38,42.93,7.4), (33.4,7.4,33.76,7.69), (42.6,7.4,42.96,7.69), (33.4,7.69,33.73,7.71), (42.6,7.69,42.93,7.71), (23.4,7.92,26.05,8.4), (28.03,8.61,28.36,8.63), (37.23,8.61,37.56,8.63), (28,8.63,28.36,8.92), (37.2,8.63,37.56,8.92), (45.65,8.8,51.3,9.05), (28.03,8.92,28.36,8.94), (37.23,8.92,37.56,8.94), (45.65,9.05,46.05,9.85), (47.225,9.52,47.555,9.54), (49.985,9.52,50.315,9.54), (34.81,9.53,35.16,9.9), (44.01,9.53,44.36,9.9), (47.215,9.54,47.565,9.83), (49.975,9.54,50.325,9.83), (48.4,9.6,48.8,10.15), (47.225,9.83,47.555,9.85), (49.985,9.83,50.315,9.85), (33.545,9.9,33.905,10.26), (42.745,9.9,43.105,10.26), (26.58,10.1,26.89,10.26), (35.78,10.1,36.09,10.26), (48.4,10.15,51.3,10.4), (26.58,10.26,33.905,10.48), (35.78,10.26,43.105,10.48), (24.3,10.64,26.05,10.88), (24.3,10.88,26.15,11.12), (38.22,10.88,38.72,11.705), (50.79,10.88,51.29,11.705), (25.65,11.12,26.15,11.705), (23.4,11.55,23.9,11.64), (22.25,11.64,23.9,11.94), (25.135,11.705,51.805,12.035), (23.4,11.94,23.9,12.03)])
A(vco_divider, via, 24.475, -0.075, 0.15, 0.15, 1, 3, 0, 5.44)
R(vco_divider, via, [(26.7,1.09,26.85,1.24), (35.9,1.09,36.05,1.24), (33.49,2.03,33.64,2.18), (42.69,2.03,42.84,2.18), (23.575,2.645,23.725,2.795), (28.12,3.26,28.27,3.41), (37.32,3.26,37.47,3.41), (34.91,4.2,35.06,4.35), (44.11,4.2,44.26,4.35), (26.7,6.53,26.85,6.68), (35.9,6.53,36.05,6.68), (33.49,7.47,33.64,7.62), (42.69,7.47,42.84,7.62), (23.575,8.085,23.725,8.235), (28.12,8.7,28.27,8.85), (37.32,8.7,37.47,8.85), (47.315,9.61,47.465,9.76), (50.075,9.61,50.225,9.76), (34.91,9.64,35.06,9.79), (44.11,9.64,44.26,9.79), (23.575,11.715,23.725,11.865)])
A(vco_divider, met2, 24.3, -0.24, 0.5, 0.48, 1, 3, 0, 5.44)
R(vco_divider, met2, [(26.61,1,26.94,1.015), (35.81,1,36.14,1.015), (22.8,1.015,26.94,1.315), (33.415,1.015,36.14,1.315), (22.8,1.315,23.1,4.985), (26.61,1.315,26.94,1.33), (33.415,1.315,33.715,1.94), (35.81,1.315,36.14,1.33), (33.4,1.94,33.73,2.27), (42.6,1.94,42.93,2.27), (42.615,2.27,42.915,4.125), (23.4,2.48,23.9,2.96), (28.03,3.17,28.36,3.5), (37.23,3.17,37.56,3.5), (28.045,3.5,28.345,6.455), (37.245,3.5,37.545,4.125), (34.82,4.11,35.15,4.125), (44.02,4.11,44.35,4.125), (34.82,4.125,37.545,4.425), (42.615,4.125,44.35,4.425), (34.82,4.425,35.15,4.44), (44.02,4.425,44.35,4.44), (21.25,4.985,23.1,5.285), (26.61,6.44,26.94,6.455), (35.81,6.44,36.14,6.455), (26.61,6.455,28.345,6.755), (33.415,6.455,36.14,6.755), (26.61,6.755,26.94,6.77), (33.415,6.755,33.715,7.38), (35.81,6.755,36.14,6.77), (33.4,7.38,33.73,7.71), (42.6,7.38,42.93,7.71), (42.615,7.71,42.915,9.565), (23.4,7.92,23.9,8.4), (27.995,8.575,28.395,8.975), (37.195,8.575,37.595,8.975), (37.245,8.975,37.545,9.565), (47.19,9.485,47.59,9.885), (49.95,9.485,50.35,9.885), (34.82,9.55,35.15,9.565), (44.02,9.55,44.35,9.565), (34.82,9.565,37.545,9.865), (42.615,9.565,44.35,9.865), (34.82,9.865,35.15,9.88), (44.02,9.865,44.35,9.88), (23.4,11.55,23.9,12.03)])
A(vco_divider, via2, 24.45, -0.1, 0.2, 0.2, 1, 3, 0, 5.44)
R(vco_divider, via2, [(23.55,2.62,23.75,2.82), (23.55,8.06,23.75,8.26), (28.095,8.675,28.295,8.875), (37.295,8.675,37.495,8.875), (47.29,9.585,47.49,9.785), (50.05,9.585,50.25,9.785), (23.55,11.69,23.75,11.89)])
R(vco_divider, met3, [(24.3,-0.24,24.8,11.12), (23.4,2.48,23.9,12.03), (27.945,8.525,28.445,9.025), (37.145,8.525,37.645,8.625), (37.145,8.625,47.54,8.925), (37.145,8.925,37.645,9.025), (47.24,8.925,47.54,9.435), (28.045,9.025,28.345,10.3), (47.14,9.435,47.64,9.935), (49.9,9.435,50.4,9.935), (50,9.935,50.3,10.3), (28.045,10.3,50.3,10.6)])
R(vco_divider, psdm, [(24.97,-1.32,51.97,-0.66), (24.97,-0.66,25.63,11.54), (51.31,-0.66,51.97,11.54), (24.97,11.54,51.97,12.2)])
vco_divider.add(gdstk.Reference(vco_core, (1.6,10.135)))
vco_divider.add(gdstk.Reference(sky130_fd_sc_hd__tapvpwr, (26.05,0)))
vco_divider.add(gdstk.Reference(sky130_fd_sc_hd__tapvpwr, (26.51,5.44), rotation=pi))
vco_divider.add(gdstk.Reference(sky130_fd_sc_hd__dfxbp_1, (26.51,0)))
vco_divider.add(gdstk.Reference(sky130_fd_sc_hd__dfxbp_1, (35.25,5.44), rotation=pi))
vco_divider.add(gdstk.Reference(sky130_fd_sc_hd__tapvpwr, (35.25,0)))
vco_divider.add(gdstk.Reference(sky130_fd_sc_hd__tapvpwr, (35.71,5.44), rotation=pi))
vco_divider.add(gdstk.Reference(sky130_fd_sc_hd__dfxbp_1, (35.71,0)))
vco_divider.add(gdstk.Reference(sky130_fd_sc_hd__dfxbp_1, (44.45,5.44), rotation=pi))
vco_divider.add(gdstk.Reference(sky130_fd_sc_hd__tapvpwr, (44.45,0)))
vco_divider.add(gdstk.Reference(sky130_fd_sc_hd__tapvpwr, (44.91,5.44), rotation=pi))
vco_divider.add(gdstk.Reference(sky130_fd_sc_hd__tapvpwr, (26.05,5.44)))
vco_divider.add(gdstk.Reference(sky130_fd_sc_hd__dfxbp_1, (26.51,5.44)))
vco_divider.add(gdstk.Reference(sky130_fd_sc_hd__tapvpwr, (35.25,5.44)))
vco_divider.add(gdstk.Reference(sky130_fd_sc_hd__dfxbp_1, (35.71,5.44)))
vco_divider.add(gdstk.Reference(sky130_fd_sc_hd__tapvpwr, (44.45,5.44)))
vco_divider.add(gdstk.Reference(sky130_fd_sc_hd__tapvpwr, (26.51,10.88), rotation=pi))
vco_divider.add(gdstk.Reference(sky130_fd_sc_hd__dfxbp_1, (35.25,10.88), rotation=pi))
vco_divider.add(gdstk.Reference(sky130_fd_sc_hd__tapvpwr, (35.71,10.88), rotation=pi))
vco_divider.add(gdstk.Reference(sky130_fd_sc_hd__dfxbp_1, (44.45,10.88), rotation=pi))
vco_divider.add(gdstk.Reference(sky130_fd_sc_hd__tapvpwr, (44.91,10.88), rotation=pi))
vco_divider.add(gdstk.Reference(sky130_fd_sc_hd__buf_4, (47.67,10.88), rotation=pi))
vco_divider.add(gdstk.Reference(sky130_fd_sc_hd__buf_4, (50.43,10.88), rotation=pi))
vco_divider.add(gdstk.Reference(sky130_fd_sc_hd__tapvpwr, (50.89,10.88), rotation=pi))
vco_divider.add(gdstk.Label('VDD', (23.65,2.72), layer=68, texttype=5))
vco_divider.add(gdstk.Label('GND', (24.55,5.44), layer=68, texttype=5))
vco_divider.add(gdstk.Label('out_div256', (51.1,10.275), layer=68, texttype=5))
vco_divider.add(gdstk.Label('out_div128', (51.1,8.925), layer=68, texttype=5))
vco_divider.add(gdstk.Label('VDD', (23.65,2.72), layer=68, texttype=5))
vco_divider.add(gdstk.Label('GND', (24.55,5.44), layer=68, texttype=5))

lib.write_gds('vco_divider.gds')
